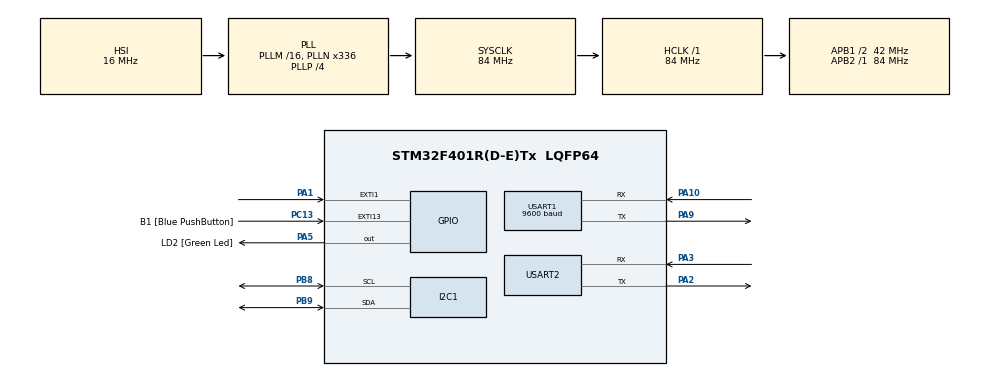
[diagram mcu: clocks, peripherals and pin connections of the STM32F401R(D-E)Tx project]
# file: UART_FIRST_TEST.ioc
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Mcu.Family=STM32F4
Mcu.Name=STM32F401R(D-E)Tx
Mcu.Package=LQFP64
NVIC.EXTI1_IRQn=true\:0\:0\:false\:false\:true\:true\:true\:true
NVIC.PriorityGroup=NVIC_PRIORITYGROUP_4
PA1.Signal=GPXTI1
PA10.Mode=Asynchronous
PA10.Signal=USART1_RX
PA13.GPIO_Label=TMS
PA13.Mode=Trace_Asynchronous_SW
PA13.Signal=SYS_JTMS-SWDIO
PA14.GPIO_Label=TCK
PA14.Mode=Trace_Asynchronous_SW
PA14.Signal=SYS_JTCK-SWCLK
PA2.Mode=Asynchronous
PA2.Signal=USART2_TX
PA3.Mode=Asynchronous
PA3.Signal=USART2_RX
PA5.GPIO_Label=LD2 [Green Led]
PA5.GPIO_Mode=GPIO_MODE_OUTPUT_PP
PA5.GPIO_PuPd=GPIO_NOPULL
PA5.GPIO_Speed=GPIO_SPEED_FREQ_LOW
PA5.Signal=GPIO_Output
PA9.Mode=Asynchronous
PA9.Signal=USART1_TX
PB3.GPIO_Label=SWO
PB3.Mode=Trace_Asynchronous_SW
PB3.Signal=SYS_JTDO-SWO
PB8.Mode=I2C
PB8.Signal=I2C1_SCL
PB9.Mode=I2C
PB9.Signal=I2C1_SDA
PC13-ANTI_TAMP.GPIO_Label=B1 [Blue PushButton]
PC13-ANTI_TAMP.GPIO_ModeDefaultEXTI=GPIO_MODE_IT_FALLING
PC13-ANTI_TAMP.GPIO_PuPd=GPIO_NOPULL
PC13-ANTI_TAMP.Signal=GPXTI13
PC14-OSC32_IN.Mode=LSE-External-Oscillator
PC14-OSC32_IN.Signal=RCC_OSC32_IN
PC15-OSC32_OUT.Mode=LSE-External-Oscillator
PC15-OSC32_OUT.Signal=RCC_OSC32_OUT
PH0\ -\ OSC_IN.Mode=HSE-External-Clock-Source
PH0\ -\ OSC_IN.Signal=RCC_OSC_IN
PH1\ -\ OSC_OUT.Mode=HSE-External-Clock-Source
PH1\ -\ OSC_OUT.Signal=RCC_OSC_OUT
ProjectManager.HeapSize=0x200
ProjectManager.StackSize=0x400
ProjectManager.TargetToolchain=STM32CubeIDE
RCC.48MHZClocksFreq_Value=48000000
RCC.AHBFreq_Value=84000000
RCC.APB1CLKDivider=RCC_HCLK_DIV2
RCC.APB1Freq_Value=42000000
RCC.APB1TimFreq_Value=84000000
RCC.APB2Freq_Value=84000000
RCC.APB2TimFreq_Value=84000000
RCC.CortexFreq_Value=84000000
RCC.HCLKFreq_Value=84000000
RCC.HSE_VALUE=8000000
RCC.HSI_VALUE=16000000
RCC.PLLN=336
RCC.PLLP=RCC_PLLP_DIV4
RCC.PLLQ=7
RCC.SYSCLKFreq_VALUE=84000000
RCC.SYSCLKSource=RCC_SYSCLKSOURCE_PLLCLK
RCC.VCOOutputFreq_Value=336000000
USART1.BaudRate=9600
USART1.VirtualMode=VM_ASYNC
USART2.VirtualMode=VM_ASYNC
board=NUCLEO-F401RE

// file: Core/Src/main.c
/* USER CODE BEGIN Header */
/**
  ******************************************************************************
  * @file           : main.c
  * @brief          : Main program body
  ******************************************************************************
  * @attention
  *
  * Copyright (c) 2026 STMicroelectronics.
  * All rights reserved.
  *
  * This software is licensed under terms that can be found in the LICENSE file
  * in the root directory of this software component.
  * If no LICENSE file comes with this software, it is provided AS-IS.
  *
  ******************************************************************************
  */
/* USER CODE END Header */

/* USER CODE BEGIN Includes */
#include "main.h"
#include <stdio.h>
#include <string.h>
#include "ADXL345.h"
#include <math.h>
/* USER CODE END Includes */

/* USER CODE BEGIN PD */
#define MAX_g 16
/* USER CODE END PD */

I2C_HandleTypeDef hi2c1;

UART_HandleTypeDef huart1;
UART_HandleTypeDef huart2;

/* USER CODE BEGIN PV */
//Used for EXTI Interrupt
uint8_t rx_buffer;
//Flag set by EXTI Interrupt
volatile uint8_t event_pending = 0;

/* USER CODE END PV */

void SystemClock_Config(void);
static void MX_GPIO_Init(void);
static void MX_USART1_UART_Init(void);
static void MX_I2C1_Init(void);
static void MX_USART2_UART_Init(void);

int main(void)
{

  /* MCU Configuration--------------------------------------------------------*/

  /* Reset of all peripherals, Initializes the Flash interface and the Systick. */
  HAL_Init();

  /* Configure the system clock */
  SystemClock_Config();

  /* Initialize all configured peripherals */
  MX_GPIO_Init();
  MX_USART1_UART_Init();
  MX_I2C1_Init();
  MX_USART2_UART_Init();
  /* USER CODE BEGIN 2 */
  // Command Protocol: Start Byte, Cmd, Data, End Byte

  // Configure Threshold and Arm Mode
  uint8_t set_threshold[4] = {0xAA, 0x02, 0x80, 0x55};
  uint8_t arm_system[4]    = {0xAA, 0x03, 0x01, 0x55};
  HAL_UART_Transmit(&huart1, set_threshold, 4, HAL_MAX_DELAY);

  HAL_Delay(100);
  HAL_UART_Transmit(&huart1, arm_system, 4, HAL_MAX_DELAY);
  HAL_Delay(100);

  // Accelerometer
  ADXL345_Init(&hi2c1);
  int16_t x_accelVal;
  int16_t y_accelVal;
  int16_t z_accelVal;
  float mag;
  uint8_t mag_accel;

  uint8_t send_sensor[4]   = {0xAA, 0x06, mag_accel, 0x55};

  //Initialize UART Receive Interrupt System
  HAL_UART_Receive_IT(&huart1, rx_buffer, 1);

  //Read FIFO command that happens after interrupt
  uint8_t read_event_packet[4] = {0xAA, 0x04, 0x00, 0x55};

  /* USER CODE END 2 */

  /* Infinite loop */
  while (1)
  {
	  /* USER CODE BEGIN 3 */
	  // Read the x,y,z registers
	  ADXL345_Read_Accel(&hi2c1, &x_accelVal, &y_accelVal, &z_accelVal);

	  // Magnitude of acceleration math
	  mag = (sqrtf(powf(x_accelVal * .0039, 2.0) + powf(y_accelVal * .0039, 2.0) + powf(z_accelVal * .0039, 2.0)) / MAX_g ) * 255;
	  if (mag > 255) {
	  	mag_accel = 255;
	  }
	  else mag_accel = (int)roundf(mag);
	    send_sensor[2] = mag_accel;

	  HAL_UART_Transmit(&huart1, send_sensor, 4, HAL_MAX_DELAY);

	  if (event_pending) {
		  event_pending = 0;
		  HAL_UART_Transmit(&huart1, read_event_packet, 4, HAL_MAX_DELAY);
	  }

  }
  /* USER CODE END 3 */
}

void SystemClock_Config(void)
{
  RCC_OscInitTypeDef RCC_OscInitStruct = {0};
  RCC_ClkInitTypeDef RCC_ClkInitStruct = {0};

  /** Configure the main internal regulator output voltage
  */
  __HAL_RCC_PWR_CLK_ENABLE();
  __HAL_PWR_VOLTAGESCALING_CONFIG(PWR_REGULATOR_VOLTAGE_SCALE2);

  /** Initializes the RCC Oscillators according to the specified parameters
  * in the RCC_OscInitTypeDef structure.
  */
  RCC_OscInitStruct.OscillatorType = RCC_OSCILLATORTYPE_HSI;
  RCC_OscInitStruct.HSIState = RCC_HSI_ON;
  RCC_OscInitStruct.HSICalibrationValue = RCC_HSICALIBRATION_DEFAULT;
  RCC_OscInitStruct.PLL.PLLState = RCC_PLL_ON;
  RCC_OscInitStruct.PLL.PLLSource = RCC_PLLSOURCE_HSI;
  RCC_OscInitStruct.PLL.PLLM = 16;
  RCC_OscInitStruct.PLL.PLLN = 336;
  RCC_OscInitStruct.PLL.PLLP = RCC_PLLP_DIV4;
  RCC_OscInitStruct.PLL.PLLQ = 7;
  if (HAL_RCC_OscConfig(&RCC_OscInitStruct) != HAL_OK)
  {
    Error_Handler();
  }

  /** Initializes the CPU, AHB and APB buses clocks
  */
  RCC_ClkInitStruct.ClockType = RCC_CLOCKTYPE_HCLK|RCC_CLOCKTYPE_SYSCLK
                              |RCC_CLOCKTYPE_PCLK1|RCC_CLOCKTYPE_PCLK2;
  RCC_ClkInitStruct.SYSCLKSource = RCC_SYSCLKSOURCE_PLLCLK;
  RCC_ClkInitStruct.AHBCLKDivider = RCC_SYSCLK_DIV1;
  RCC_ClkInitStruct.APB1CLKDivider = RCC_HCLK_DIV2;
  RCC_ClkInitStruct.APB2CLKDivider = RCC_HCLK_DIV1;

  if (HAL_RCC_ClockConfig(&RCC_ClkInitStruct, FLASH_LATENCY_2) != HAL_OK)
  {
    Error_Handler();
  }
}

static void MX_I2C1_Init(void)
{

  hi2c1.Instance = I2C1;
  hi2c1.Init.ClockSpeed = 100000;
  hi2c1.Init.DutyCycle = I2C_DUTYCYCLE_2;
  hi2c1.Init.OwnAddress1 = 0;
  hi2c1.Init.AddressingMode = I2C_ADDRESSINGMODE_7BIT;
  hi2c1.Init.DualAddressMode = I2C_DUALADDRESS_DISABLE;
  hi2c1.Init.OwnAddress2 = 0;
  hi2c1.Init.GeneralCallMode = I2C_GENERALCALL_DISABLE;
  hi2c1.Init.NoStretchMode = I2C_NOSTRETCH_DISABLE;
  if (HAL_I2C_Init(&hi2c1) != HAL_OK)
  {
    Error_Handler();
  }

}

static void MX_USART1_UART_Init(void)
{

  huart1.Instance = USART1;
  huart1.Init.BaudRate = 9600;
  huart1.Init.WordLength = UART_WORDLENGTH_8B;
  huart1.Init.StopBits = UART_STOPBITS_1;
  huart1.Init.Parity = UART_PARITY_NONE;
  huart1.Init.Mode = UART_MODE_TX_RX;
  huart1.Init.HwFlowCtl = UART_HWCONTROL_NONE;
  huart1.Init.OverSampling = UART_OVERSAMPLING_16;
  if (HAL_UART_Init(&huart1) != HAL_OK)
  {
    Error_Handler();
  }

}

static void MX_USART2_UART_Init(void)
{

  huart2.Instance = USART2;
  huart2.Init.BaudRate = 115200;
  huart2.Init.WordLength = UART_WORDLENGTH_8B;
  huart2.Init.StopBits = UART_STOPBITS_1;
  huart2.Init.Parity = UART_PARITY_NONE;
  huart2.Init.Mode = UART_MODE_TX_RX;
  huart2.Init.HwFlowCtl = UART_HWCONTROL_NONE;
  huart2.Init.OverSampling = UART_OVERSAMPLING_16;
  if (HAL_UART_Init(&huart2) != HAL_OK)
  {
    Error_Handler();
  }

}

static void MX_GPIO_Init(void)
{
  GPIO_InitTypeDef GPIO_InitStruct = {0};

  /* GPIO Ports Clock Enable */
  __HAL_RCC_GPIOC_CLK_ENABLE();
  __HAL_RCC_GPIOH_CLK_ENABLE();
  __HAL_RCC_GPIOA_CLK_ENABLE();
  __HAL_RCC_GPIOB_CLK_ENABLE();

  /*Configure GPIO pin Output Level */
  HAL_GPIO_WritePin(LD2_GPIO_Port, LD2_Pin, GPIO_PIN_RESET);

  /*Configure GPIO pin : B1_Pin */
  GPIO_InitStruct.Pin = B1_Pin;
  GPIO_InitStruct.Mode = GPIO_MODE_IT_FALLING;
  GPIO_InitStruct.Pull = GPIO_NOPULL;
  HAL_GPIO_Init(B1_GPIO_Port, &GPIO_InitStruct);

  /*Configure GPIO pin : PA1 */
  GPIO_InitStruct.Pin = GPIO_PIN_1;
  GPIO_InitStruct.Mode = GPIO_MODE_IT_RISING;
  GPIO_InitStruct.Pull = GPIO_NOPULL;
  HAL_GPIO_Init(GPIOA, &GPIO_InitStruct);

  /*Configure GPIO pin : LD2_Pin */
  GPIO_InitStruct.Pin = LD2_Pin;
  GPIO_InitStruct.Mode = GPIO_MODE_OUTPUT_PP;
  GPIO_InitStruct.Pull = GPIO_NOPULL;
  GPIO_InitStruct.Speed = GPIO_SPEED_FREQ_LOW;
  HAL_GPIO_Init(LD2_GPIO_Port, &GPIO_InitStruct);

  /* EXTI interrupt init*/
  HAL_NVIC_SetPriority(EXTI1_IRQn, 0, 0);
  HAL_NVIC_EnableIRQ(EXTI1_IRQn);

}

/* USER CODE BEGIN 4 */

void HAL_GPIO_EXTI_Callback(uint16_t GPIO_Pin)
{
	if (GPIO_Pin == GPIO_PIN_1)
	  {
	    HAL_GPIO_TogglePin(LD2_GPIO_Port, LD2_Pin);
	    event_pending = 1;
	  }
}

void HAL_UART_RxCpltCallback(UART_HandleTypeDef *huart)
{
  // parsing + printing logic goes here
	if (huart->Instance == USART1)
	  {
	    // Check start and end bytes to confirm a valid packet
	    if (rx_buffer[0] == 0xAA && rx_buffer[3] == 0x55)
	    {
	      char message[50];
	      sprintf(message, "Collision detected! Magnitude: %d\r\n", rx_buffer[2]);
	      HAL_UART_Transmit(&huart2, (uint8_t*)message, strlen(message), HAL_MAX_DELAY);
	    }

	    // Re-arm for the next packet from the FPGA
	    HAL_UART_Receive_IT(&huart1, rx_buffer, 1);
	  }
}

/* USER CODE END 4 */

void Error_Handler(void)
{
  __disable_irq();
  while (1)
  {
  }
}
